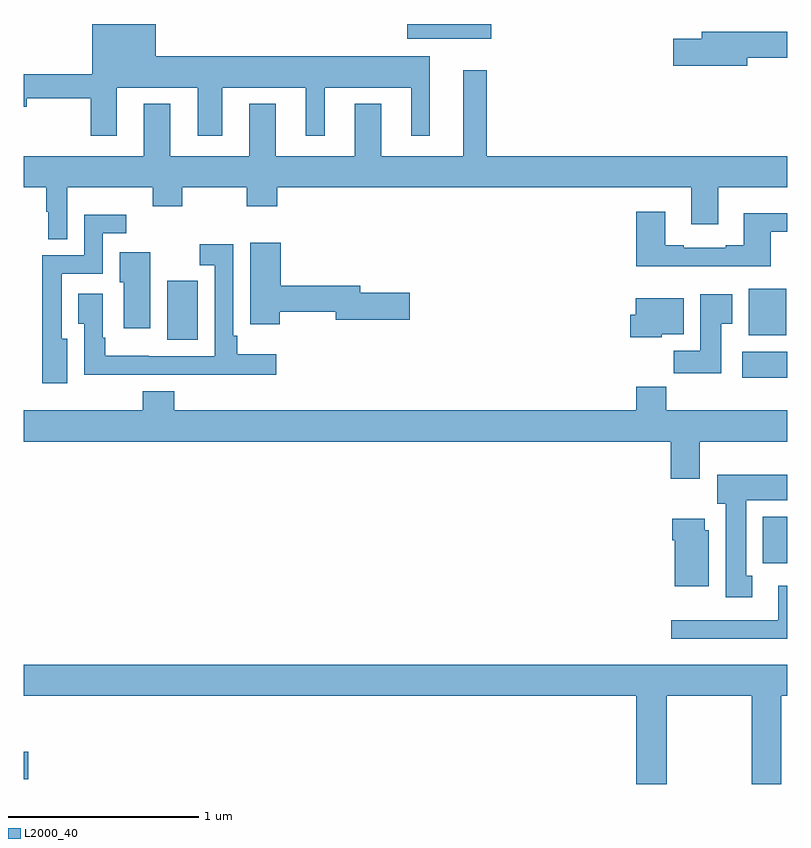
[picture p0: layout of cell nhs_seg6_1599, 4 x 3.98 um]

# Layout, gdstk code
import gdstk
lib = gdstk.Library(unit=1e-6, precision=1e-09)
def R(c, l, rs):  # rectangles x0, y0, x1, y1
    for r in rs: c.add(gdstk.rectangle(r[:2], r[2:], *l))
def P(c, l, *ps):  # polygons
    for p in ps: c.add(gdstk.Polygon(p, *l))
L2000_40 = (2000, 40)

nhs_seg6_1599 = lib.new_cell('nhs_seg6_1599')
R(nhs_seg6_1599, L2000_40, [(207,969.545,207.025,969.687), (210.872,970.676,211,970.918), (210.765,971.648,211,971.782), (207.752,971.845,207.913,972.156), (210.797,971.87,210.994,972.112), (209.01,973.424,209.449,973.5)])
P(nhs_seg6_1599, L2000_40, [(207.487,973.166),(207.911,973.166),(207.911,972.915),(208.039,972.915),(208.039,973.166),(208.478,973.166),(208.478,972.915),(208.576,972.915),(208.576,973.166),(209.03,973.166),(209.03,972.915),(209.128,972.915),(209.128,973.33),(207.691,973.33),(207.691,973.5),(207.359,973.5),(207.359,973.238),(207,973.238),(207,973.067),(207.016,973.067),(207.016,973.11),(207.352,973.11),(207.352,972.915),(207.487,972.915)],
  [(210.79,973.324),(211,973.324),(211,973.46),(210.551,973.46),(210.551,973.424),(210.402,973.424),(210.402,973.282),(210.79,973.282)],
  [(207.831,972.644),(208.168,972.644),(208.168,972.545),(208.328,972.545),(208.328,972.644),(210.497,972.644),(210.497,972.45),(210.637,972.45),(210.637,972.644),(211,972.644),(211,972.808),(209.425,972.808),(209.425,973.258),(209.303,973.258),(209.303,972.808),(208.873,972.808),(208.873,973.081),(208.733,973.081),(208.733,972.808),(208.321,972.808),(208.321,973.081),(208.181,973.081),(208.181,972.808),(207.769,972.808),(207.769,973.081),(207.629,973.081),(207.629,972.808),(207,972.808),(207,972.644),(207.118,972.644),(207.118,972.516),(207.128,972.516),(207.128,972.373),(207.229,972.373),(207.229,972.644),(207.676,972.644),(207.676,972.545),(207.831,972.545)],
  [(210.913,972.411),(211,972.411),(211,972.508),(210.773,972.508),(210.773,972.34),(210.677,972.34),(210.677,972.327),(210.457,972.327),(210.457,972.34),(210.361,972.34),(210.361,972.517),(210.209,972.517),(210.209,972.23),(210.913,972.23)],
  [(207.229,971.851),(207.199,971.851),(207.199,972.192),(207.414,972.192),(207.414,972.405),(207.538,972.405),(207.538,972.502),(207.318,972.502),(207.318,972.288),(207.098,972.288),(207.098,971.619),(207.229,971.619)],
  [(208.341,971.992),(208.634,971.992),(208.634,971.95),(209.023,971.95),(209.023,972.092),(208.762,972.092),(208.762,972.128),(208.346,972.128),(208.346,972.355),(208.187,972.355),(208.187,971.928),(208.341,971.928)],
  [(207.539,971.664),(207.905,971.664),(207.905,971.663),(208.324,971.663),(208.324,971.77),(208.118,971.77),(208.118,971.866),(208.098,971.866),(208.098,972.346),(207.921,972.346),(207.921,972.237),(208.002,972.237),(208.002,971.76),(207.656,971.76),(207.656,971.761),(207.427,971.761),(207.427,971.857),(207.414,971.857),(207.414,972.088),(207.287,972.088),(207.287,971.929),(207.318,971.929),(207.318,971.663),(207.539,971.663)],
  [(207.664,972.304),(207.503,972.304),(207.503,972.147),(207.524,972.147),(207.524,971.907),(207.664,971.907)],
  [(210.655,971.929),(210.712,971.929),(210.712,972.085),(210.545,972.085),(210.545,971.788),(210.406,971.788),(210.406,971.67),(210.655,971.67)],
  [(210.342,971.876),(210.457,971.876),(210.457,972.064),(210.206,972.064),(210.206,971.976),(210.176,971.976),(210.176,971.858),(210.342,971.858)],
  [(210.541,971.312),(211,971.312),(211,971.476),(210.365,971.476),(210.365,971.6),(210.209,971.6),(210.209,971.476),(207.788,971.476),(207.788,971.575),(207.623,971.575),(207.623,971.476),(207,971.476),(207,971.312),(210.389,971.312),(210.389,971.118),(210.541,971.118)],
  [(210.817,970.61),(210.784,970.61),(210.784,971.006),(211,971.006),(211,971.14),(210.632,971.14),(210.632,970.986),(210.677,970.986),(210.677,970.497),(210.817,970.497)],
  [(210.589,970.848),(210.568,970.848),(210.568,970.909),(210.398,970.909),(210.398,970.796),(210.41,970.796),(210.41,970.556),(210.589,970.556)],
  [(211,970.558),(210.953,970.558),(210.953,970.377),(210.393,970.377),(210.393,970.28),(211,970.28)],
  [(210.369,969.98),(210.814,969.98),(210.814,969.519),(210.969,969.519),(210.969,969.98),(211,969.98),(211,970.144),(207,970.144),(207,969.98),(210.209,969.98),(210.209,969.519),(210.369,969.519)])

lib.write_gds('nhs_seg6_1599.gds')
